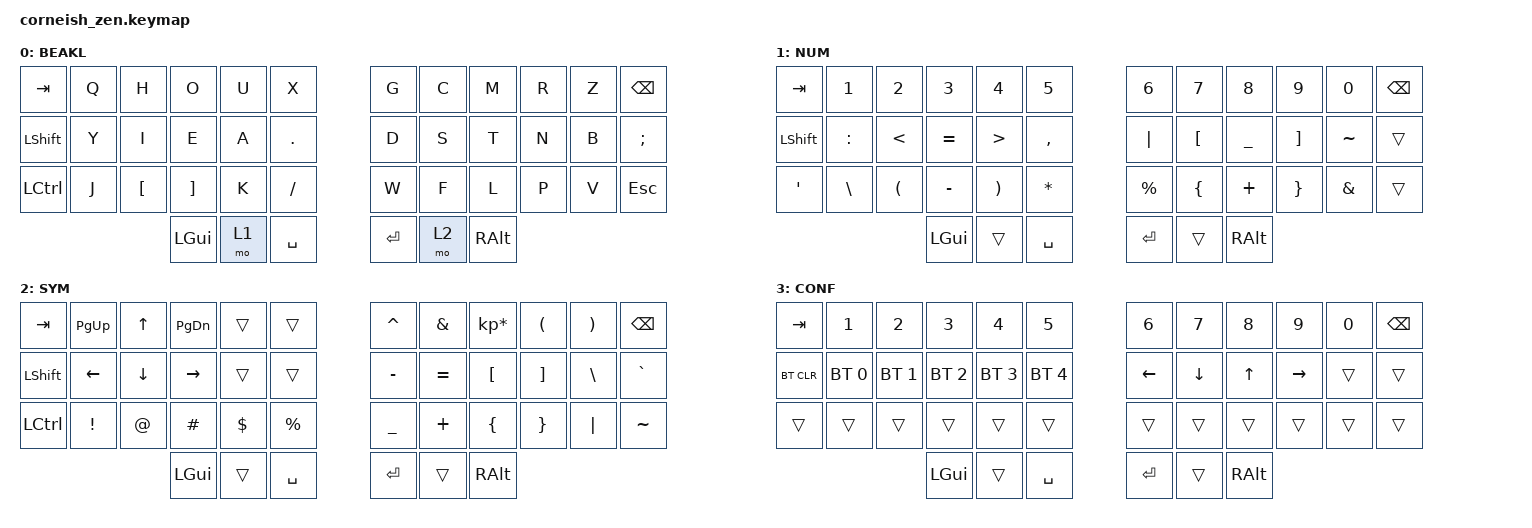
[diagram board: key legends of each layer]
#include <behaviors.dtsi>
#include <dt-bindings/zmk/keys.h>
#include <dt-bindings/zmk/bt.h>

/ {
  chosen {
    zmk,matrix_transform = &default_transform;
    //zmk,matrix_transform = &five_column_transform;
  };
};

/ {
        keymap {
                compatible = "zmk,keymap";

                default_layer {
                        label = "BEAKL";
// -----------------------------------------------------------------------------------------
// |  TAB |  Q  |  H  |  O  |  U  |  X  |   |  G  |  C   |  M  |  R  |  Z  | BKSP |
// | SHFT |  Y  |  I  |  E  |  A  |  .  |   |  D  |  S   |  T  |  N  |  B  |  ;   |
// | CTRL |  J  |  [  |  ]  |  K  |  /  |   |  W  |  F   |  L  |  P  |  V  | ESC  |
//                    | GUI | LWR | SPC |   | ENT | RSE  | ALT |
                        bindings = <
   &kp TAB   &kp Q &kp H    &kp O    &kp U  &kp X       &kp G    &kp C  &kp M &kp R &kp Z &kp BSPC
   &kp LSHFT &kp Y &kp I    &kp E    &kp A  &kp DOT     &kp D    &kp S  &kp T &kp N &kp B &kp SEMI
   &kp LCTRL &kp J &kp LBKT &kp RBKT &kp K  &kp FSLH    &kp W    &kp F  &kp L &kp P &kp V &kp ESC
                            &kp LGUI &mo 1  &kp SPACE   &kp RET  &mo 2  &kp RALT
                        >;
                };
                lower_layer {
                        label = "NUM";
// -----------------------------------------------------------------------------------------
// |  TAB |  1  |  2  |  3  |  4  |  5  |   |  6  |  7  |  8  |  9  |  0  | BKSP |
// | SHFT |  :  |  <  |  =  |  >  |  ,  |   |  |  |  [  |  _  |  ]  |  ˜  |      |
// |   '  |  \  |  (  |  -  |  )  |  *  |   |  %  |  {  |  +  |  }  |  &  |      |
//                    | GUI |     | SPC |   | ENT |     | ALT |
                        bindings = <
   &kp TAB    &kp N1       &kp N2       &kp N3       &kp N4       &kp N5         &kp N6     &kp N7    &kp N8         &kp N9   &kp N0    &kp BSPC
   &kp LSHFT   &kp COLON    &kp LT       &kp EQUAL    &kp GT       &kp COMMA      &kp PIPE   &kp LBKT  &kp UNDERSCORE &kp RBKT &kp TILDE &trans
   &kp APOS  &kp BSLH     &kp LPAR     &kp MINUS    &kp RPAR     &kp ASTERISK   &kp PRCNT  &kp LBRC  &kp PLUS       &kp RBRC &kp AMPS  &trans
                          	        &kp LGUI     &trans       &kp SPACE      &kp RET    &trans    &kp RALT
                        >;
                };

                raise_layer {
                        label = "SYM";
// -----------------------------------------------------------------------------------------
// |  TAB |PG_UP|  UP |PG_DN|     |     |   |  ^  |  &  |  *  |  (  |  )  | BKSP |
// | SHFT | LEFT| DOWN|RIGHT|     |     |   |  -  |  =  |  [  |  ]  |  \  |  `   |
// | CTRL |  !  |  @  |  #  |  $  |  %  |   |  _  |  +  |  {  |  }  | "|" |  ~   |
//                    | GUI |     | SPC |   | ENT |     | ALT |
                        bindings = <
   &kp  TAB  &kp PG_UP  &kp UP   &kp PG_DN  &trans      &trans       &kp CARET &kp AMPS  &kp KP_MULTIPLY &kp LPAR &kp RPAR &kp BSPC
   &kp LSHFT &kp LEFT   &kp DOWN &kp RIGHT  &trans      &trans       &kp MINUS &kp EQUAL &kp LBKT        &kp RBKT &kp BSLH &kp GRAVE
   &kp LCTRL &kp EXCL   &kp AT   &kp HASH   &kp DOLLAR  &kp PERCENT  &kp UNDER &kp PLUS  &kp LBRC        &kp RBRC &kp PIPE &kp TILDE
                    	         &kp LGUI   &trans      &kp SPACE    &kp RET   &trans    &kp RALT
                        >;
                };

                adjust {
                        label = "CONF";
// -----------------------------------------------------------------------------------------
// |  TAB |  1  |  2  |  3  |  4  |  5  |   |  6  |  7  |  8  |  9  |  0  | BKSP |
// | BTCLR| BT1 | BT2 | BT3 | BT4 | BT5 |   | LFT | DWN |  UP | RGT |     |      |
// |      |     |     |     |     |     |   |     |     |     |     |     |      |
//                    | GUI |     | SPC |   | ENT |     | ALT |
                        bindings = <
   &kp TAB    &kp N1       &kp N2       &kp N3       &kp N4       &kp N5         &kp N6   &kp N7   &kp N8 &kp N9    &kp N0 &kp BSPC
   &bt BT_CLR &bt BT_SEL 0 &bt BT_SEL 1 &bt BT_SEL 2 &bt BT_SEL 3 &bt BT_SEL 4   &kp LEFT &kp DOWN &kp UP &kp RIGHT &trans &trans
   &trans     &trans       &trans       &trans       &trans       &trans         &trans   &trans   &trans &trans    &trans &trans
                          	        &kp LGUI     &trans       &kp SPACE      &kp RET  &trans   &kp RALT
                        >;
                };
        }; 
};

/ {
    conditional_layers {
        compatible = "zmk,conditional-layers";
        tri_layer {
            if-layers = <1 2>;
            then-layer = <3>;
        };
    };
};

/*
default_layer {
                        label = "QWERTY";
// -----------------------------------------------------------------------------------------
// |  TAB |  Q  |  W  |  E  |  R  |  T  |   |  Y  |  U   |  I  |  O  |  P  | BKSP |
// | CTRL |  A  |  S  |  D  |  F  |  G  |   |  H  |  J   |  K  |  L  |  ;  |  '   |
// | SHFT |  Z  |  X  |  C  |  V  |  B  |   |  N  |  M   |  ,  |  .  |  /  | ESC  |
//                    | GUI | LWR | SPC |   | ENT | RSE  | ALT |
                        bindings = <
   &kp TAB   &kp Q &kp W &kp E &kp R &kp T   &kp Y &kp U  &kp I     &kp O   &kp P    &kp BSPC
   &kp LCTRL &kp A &kp S &kp D &kp F &kp G   &kp H &kp J  &kp K     &kp L   &kp SEMI &kp SQT
   &kp LSHFT &kp Z &kp X &kp C &kp V &kp B   &kp N &kp M  &kp COMMA &kp DOT &kp FSLH &kp ESC
                  &kp LGUI &mo 1 &kp SPACE   &kp RET &mo 2 &kp RALT
                        >;
                };
*/

/*
lower_layer {
                        label = "NUMBER";
// -----------------------------------------------------------------------------------------
// |  TAB |  1  |  2  |  3  |  4  |  5  |   |  6  |  7  |  8  |  9  |  0  | BKSP |
// | BTCLR| BT1 | BT2 | BT3 | BT4 | BT5 |   | LFT | DWN |  UP | RGT |     |      |
// | SHFT |     |     |     |     |     |   |     |     |     |     |     |      |
//                    | GUI |     | SPC |   | ENT |     | ALT |
                        bindings = <
   &kp TAB    &kp N1       &kp N2       &kp N3       &kp N4       &kp N5         &kp N6   &kp N7   &kp N8 &kp N9    &kp N0 &kp BSPC
   &bt BT_CLR &bt BT_SEL 0 &bt BT_SEL 1 &bt BT_SEL 2 &bt BT_SEL 3 &bt BT_SEL 4   &kp LEFT &kp DOWN &kp UP &kp RIGHT &trans &trans
   &kp LSHFT  &trans       &trans       &trans       &trans       &trans         &trans   &trans   &trans &trans    &trans &trans
                          	        &kp LGUI     &trans       &kp SPACE      &kp RET  &trans   &kp RALT
                        >;
                };
*/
